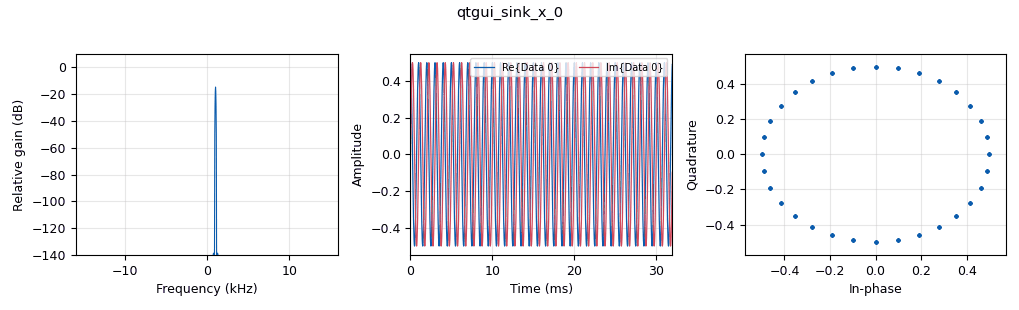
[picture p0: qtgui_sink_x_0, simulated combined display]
<?xml version='1.0' encoding='utf-8'?>
<?grc format='1' created='3.7.13'?>
<flow_graph>
<block>
<key>options</key>
<param><key>id</key><value>top_block</value></param>
<param><key>generate_options</key><value>qt_gui</value></param>
</block>
<block>
<key>variable</key>
<param><key>id</key><value>samp_rate</value></param>
<param><key>value</key><value>32000</value></param>
</block>
<block>
<key>variable_qtgui_range</key>
<param><key>id</key><value>volume</value></param>
<param><key>value</key><value>0.5</value></param>
<param><key>label</key><value>Volume</value></param>
<param><key>orient</key><value>Qt.Horizontal</value></param>
<param><key>start</key><value>0</value></param>
<param><key>step</key><value>0.1</value></param>
<param><key>stop</key><value>1</value></param>
</block>
<block>
<key>analog_sig_source_x</key>
<param><key>id</key><value>analog_sig_source_x_0</value></param>
<param><key>amp</key><value>1</value></param>
<param><key>freq</key><value>1e3</value></param>
<param><key>offset</key><value>0</value></param>
<param><key>type</key><value>complex</value></param>
<param><key>samp_rate</key><value>samp_rate</value></param>
<param><key>waveform</key><value>analog.GR_COS_WAVE</value></param>
</block>
<block>
<key>blocks_throttle</key>
<param><key>id</key><value>blocks_throttle_0</value></param>
<param><key>samples_per_second</key><value>samp_rate</value></param>
<param><key>type</key><value>complex</value></param>
</block>
<block>
<key>epy_block</key>
<param><key>id</key><value>epy_block_0</value></param>
<param><key>_source_code</key><value>"""
Embedded Python Blocks:

Each time this file is saved, GRC will instantiate the first class it finds
to get ports and parameters of your block. The arguments to __init__  will
be the parameters. All of them are required to have default values!
"""

import numpy as np
from gnuradio import gr


class blk(gr.sync_block):  # other base classes are basic_block, decim_block, interp_block
    """Embedded Python Block example - a simple multiply const"""

    def __init__(self, example_param=1.0):  # only default arguments here
        """arguments to this function show up as parameters in GRC"""
        gr.sync_block.__init__(
            self,
            name='Embedded Python Block',   # will show up in GRC
            in_sig=[np.complex64],
            out_sig=[np.complex64]
        )
        # if an attribute with the same name as a parameter is found,
        # a callback is registered (properties work, too).
        self.example_param = example_param

    def work(self, input_items, output_items):
        """example: multiply with constant"""
        output_items[0][:] = input_items[0] * self.example_param
        return len(output_items[0])
</value></param>
<param><key>example_param</key><value>volume</value></param>
</block>
<block>
<key>qtgui_sink_x</key>
<param><key>id</key><value>qtgui_sink_x_0</value></param>
<param><key>bw</key><value>samp_rate</value></param>
<param><key>fc</key><value>0</value></param>
<param><key>freqchangevar</key><value>None</value></param>
<param><key>fftsize</key><value>1024</value></param>
<param><key>showports</key><value>True</value></param>
<param><key>type</key><value>complex</value></param>
<param><key>wintype</key><value>firdes.WIN_BLACKMAN_hARRIS</value></param>
</block>
<connection><source_block_id>analog_sig_source_x_0</source_block_id><sink_block_id>blocks_throttle_0</sink_block_id><source_key>0</source_key><sink_key>0</sink_key></connection>
<connection><source_block_id>blocks_throttle_0</source_block_id><sink_block_id>epy_block_0</sink_block_id><source_key>0</source_key><sink_key>0</sink_key></connection>
<connection><source_block_id>epy_block_0</source_block_id><sink_block_id>qtgui_sink_x_0</sink_block_id><source_key>0</source_key><sink_key>0</sink_key></connection>
</flow_graph>
